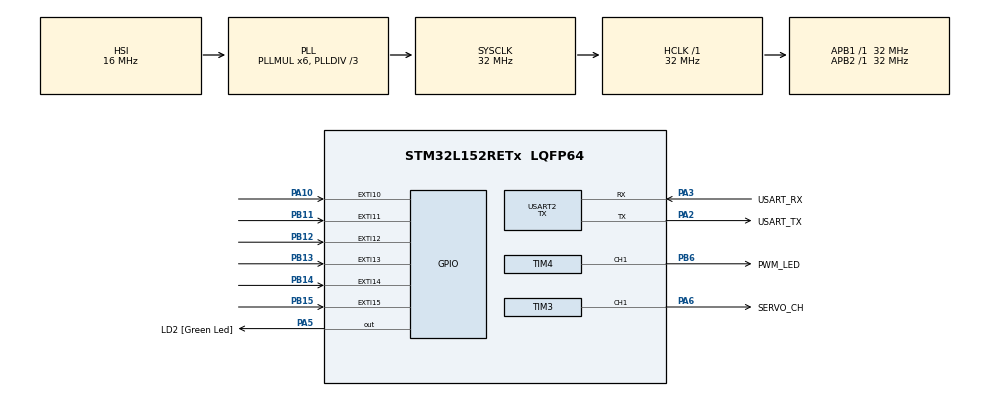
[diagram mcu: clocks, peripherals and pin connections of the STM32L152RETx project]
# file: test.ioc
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Mcu.Family=STM32L1
Mcu.Name=STM32L152RETx
Mcu.Package=LQFP64
NVIC.EXTI15_10_IRQn=true\:0\:0\:false\:false\:true\:true\:true\:true
NVIC.PriorityGroup=NVIC_PRIORITYGROUP_0
PA10.GPIO_ModeDefaultEXTI=GPIO_MODE_IT_RISING_FALLING
PA10.Signal=GPXTI10
PA13.GPIO_Label=TMS
PA13.Mode=Serial_Wire
PA13.Signal=SYS_JTMS-SWDIO
PA14.GPIO_Label=TCK
PA14.Mode=Serial_Wire
PA14.Signal=SYS_JTCK-SWCLK
PA2.GPIO_Label=USART_TX
PA2.Mode=Asynchronous
PA2.Signal=USART2_TX
PA3.GPIO_Label=USART_RX
PA3.Mode=Asynchronous
PA3.Signal=USART2_RX
PA5.GPIO_Label=LD2 [Green Led]
PA5.Signal=GPIO_Output
PA6.GPIO_Label=SERVO_CH
PA6.Signal=S_TIM3_CH1
PB11.GPIO_ModeDefaultEXTI=GPIO_MODE_IT_RISING_FALLING
PB11.Signal=GPXTI11
PB12.GPIO_ModeDefaultEXTI=GPIO_MODE_IT_RISING_FALLING
PB12.Signal=GPXTI12
PB13.GPIO_ModeDefaultEXTI=GPIO_MODE_IT_RISING_FALLING
PB13.Signal=GPXTI13
PB14.GPIO_ModeDefaultEXTI=GPIO_MODE_IT_RISING_FALLING
PB14.Signal=GPXTI14
PB15.GPIO_ModeDefaultEXTI=GPIO_MODE_IT_RISING_FALLING
PB15.Signal=GPXTI15
PB3.GPIO_Label=SWO
PB3.Signal=SYS_JTDO-TRACESWO
PB6.GPIO_Label=PWM_LED
PB6.Signal=S_TIM4_CH1
PC14-OSC32_IN.Mode=LSE-External-Oscillator
PC14-OSC32_IN.Signal=RCC_OSC32_IN
PC15-OSC32_OUT.Mode=LSE-External-Oscillator
PC15-OSC32_OUT.Signal=RCC_OSC32_OUT
PH0-OSC_IN.Mode=HSE-External-Clock-Source
PH0-OSC_IN.Signal=RCC_OSC_IN
PH1-OSC_OUT.Signal=RCC_OSC_OUT
ProjectManager.HeapSize=0x200
ProjectManager.StackSize=0x400
ProjectManager.TargetToolchain=STM32CubeIDE
RCC.48MHZClocksFreq_Value=48000000
RCC.AHBFreq_Value=32000000
RCC.APB1Freq_Value=32000000
RCC.APB1TimFreq_Value=32000000
RCC.APB2Freq_Value=32000000
RCC.APB2TimFreq_Value=32000000
RCC.HCLKFreq_Value=32000000
RCC.HSE_VALUE=8000000
RCC.HSI_VALUE=16000000
RCC.MSI_VALUE=2097000
RCC.PLLDIV=RCC_PLL_DIV3
RCC.PLLMUL=RCC_PLL_MUL6
RCC.RTCClockSelectionVirtual=RCC_RTCCLKSOURCE_LSE
RCC.SYSCLKFreq_VALUE=32000000
RCC.SYSCLKSource=RCC_SYSCLKSOURCE_PLLCLK
RCC.USBOutput=48000000
RCC.VCOOutputFreq_Value=96000000
SH.S_TIM3_CH1.0=TIM3_CH1,PWM Generation1 CH1
SH.S_TIM4_CH1.0=TIM4_CH1,PWM Generation1 CH1
TIM3.AutoReloadPreload=TIM_AUTORELOAD_PRELOAD_ENABLE
TIM3.Channel-PWM\ Generation1\ CH1=TIM_CHANNEL_1
TIM3.Period=19999
TIM3.Prescaler=31
TIM4.AutoReloadPreload=TIM_AUTORELOAD_PRELOAD_ENABLE
TIM4.Channel-PWM\ Generation1\ CH1=TIM_CHANNEL_1
TIM4.Period=199
TIM4.Prescaler=310
USART2.Mode=MODE_TX
USART2.VirtualMode=VM_ASYNC
VP_TIM3_VS_ClockSourceINT.Mode=Internal
VP_TIM4_VS_ClockSourceINT.Mode=Internal
board=NUCLEO-L152RE

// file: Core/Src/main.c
/* USER CODE BEGIN Header */
/**
  ******************************************************************************
  * @file           : main.c
  * @brief          : Main program body
  ******************************************************************************
  * @attention
  *
  * Copyright (c) 2024 STMicroelectronics.
  * All rights reserved.
  *
  * This software is licensed under terms that can be found in the LICENSE file
  * in the root directory of this software component.
  * If no LICENSE file comes with this software, it is provided AS-IS.
  *
  ******************************************************************************
  */
/* USER CODE END Header */
#include "main.h"
#include "tim.h"
#include "usart.h"
#include "gpio.h"

/* USER CODE BEGIN Includes */
#include <stdio.h>
#include <stdint.h>
#include "rx/rx.h"
#include "servo/servo.h"
/* USER CODE END Includes */

/* USER CODE BEGIN PTD */
struct rxData
{
	uint8_t direction;
	uint16_t pwmVal;
};
/* USER CODE END PTD */

/* USER CODE BEGIN PD */
extern UART_HandleTypeDef huart2;

/* USER CODE END PD */

/* USER CODE BEGIN PM */
uint16_t GetInputRxChannel1(void);
/* USER CODE END PM */

/* USER CODE BEGIN PV */
uint32_t value;
/* USER CODE END PV */

void SystemClock_Config(void);

/* USER CODE BEGIN 0 */
void send_msg(char* msg)
{
	while (*msg)
	{
		HAL_UART_Transmit(&huart2, (uint8_t*)msg, 1, 200);
		msg ++;
	}
	uint8_t data[] = {'\n', '\r'};
	HAL_UART_Transmit(&huart2, data, 2, 200);
}

void send_number(uint32_t val)
{
	char buffer[12];
	sprintf(buffer, "%lu", val);
	send_msg(buffer);
}

void send_short_number(uint16_t val)
{
	char buffer[10];
	sprintf(buffer, "%d", val);
	send_msg(buffer);
}
/* USER CODE END 0 */

int main(void)
{

  /* MCU Configuration--------------------------------------------------------*/

  /* Reset of all peripherals, Initializes the Flash interface and the Systick. */
  HAL_Init();

  /* Configure the system clock */
  SystemClock_Config();

  /* Initialize all configured peripherals */
  MX_GPIO_Init();
  MX_USART2_UART_Init();
  MX_TIM3_Init();
  MX_TIM4_Init();
  /* USER CODE BEGIN 2 */
  //DWT_Init();

  SERVO_attach(0, DEFAULT_PULSE_WIDTH);

  if (HAL_TIM_PWM_Start(&htim3, TIM_CHANNEL_1) != HAL_OK)
  {
	  Error_Handler();
  }
  /* USER CODE END 2 */

  /* Infinite loop */
  while (1)
  {

    /* USER CODE BEGIN 3 */
//	for (uint8_t pos=0; pos < 180; pos += 1)
//	{
//		SERVO_write(pos);
//		delay(15);
//	}
//
//	for (uint8_t pos=180; pos>=1; pos -= 1)
//	{
//		SERVO_write(pos);
//		delay(15);
//	}
	analogWrite(50);
	delay(2000);
	analogWrite(100);
	delay(2000);
//	value = GetInputRxChannel1();
//	send_short_number(value);
//    delay(100);
  }
  /* USER CODE END 3 */
}

void SystemClock_Config(void)
{
  RCC_OscInitTypeDef RCC_OscInitStruct = {0};
  RCC_ClkInitTypeDef RCC_ClkInitStruct = {0};

  /** Configure the main internal regulator output voltage
  */
  __HAL_PWR_VOLTAGESCALING_CONFIG(PWR_REGULATOR_VOLTAGE_SCALE1);

  /** Initializes the RCC Oscillators according to the specified parameters
  * in the RCC_OscInitTypeDef structure.
  */
  RCC_OscInitStruct.OscillatorType = RCC_OSCILLATORTYPE_HSI;
  RCC_OscInitStruct.HSIState = RCC_HSI_ON;
  RCC_OscInitStruct.HSICalibrationValue = RCC_HSICALIBRATION_DEFAULT;
  RCC_OscInitStruct.PLL.PLLState = RCC_PLL_ON;
  RCC_OscInitStruct.PLL.PLLSource = RCC_PLLSOURCE_HSI;
  RCC_OscInitStruct.PLL.PLLMUL = RCC_PLL_MUL6;
  RCC_OscInitStruct.PLL.PLLDIV = RCC_PLL_DIV3;
  if (HAL_RCC_OscConfig(&RCC_OscInitStruct) != HAL_OK)
  {
    Error_Handler();
  }

  /** Initializes the CPU, AHB and APB buses clocks
  */
  RCC_ClkInitStruct.ClockType = RCC_CLOCKTYPE_HCLK|RCC_CLOCKTYPE_SYSCLK
                              |RCC_CLOCKTYPE_PCLK1|RCC_CLOCKTYPE_PCLK2;
  RCC_ClkInitStruct.SYSCLKSource = RCC_SYSCLKSOURCE_PLLCLK;
  RCC_ClkInitStruct.AHBCLKDivider = RCC_SYSCLK_DIV1;
  RCC_ClkInitStruct.APB1CLKDivider = RCC_HCLK_DIV1;
  RCC_ClkInitStruct.APB2CLKDivider = RCC_HCLK_DIV1;

  if (HAL_RCC_ClockConfig(&RCC_ClkInitStruct, FLASH_LATENCY_1) != HAL_OK)
  {
    Error_Handler();
  }
}

/* USER CODE BEGIN 4 */
uint16_t GetInputRxChannel1(void)
{
	struct rxData sRxData, sRxDataSendQueue;
	static uint16_t lastPwmValue = 0;
	static uint8_t lastStateValue = 0;
	static uint16_t zeroValCount = 0;

	RX_ReadPulse(RX_CHANNEL_1, &sRxData.direction, &sRxData.pwmVal);
	if (sRxData.pwmVal != RECEIVER_PWM_LOSS_OR_FAIL)
	{
		lastPwmValue = sRxData.pwmVal;
		lastStateValue = sRxData.direction;
		zeroValCount = 0;
	}
	else
	{
		zeroValCount ++;
	}
	if (zeroValCount >= RECEIVER_PWM_FAIL_COUNT)
	{
		lastPwmValue = RECEIVER_PWM_LOSS_OR_FAIL;
		lastStateValue = RECEIVER_STICK_LOSS_OR_FAIL;
	}

	sRxDataSendQueue.pwmVal = lastPwmValue;
	sRxDataSendQueue.direction = lastStateValue;

	return sRxDataSendQueue.pwmVal;
	//HAL_Delay(100);
}

void HAL_GPIO_EXTI_Callback(uint16_t GPIO_Pin)
{
	if (GPIO_Pin == GPIO_PIN_10)
	{
		if (HAL_GPIO_ReadPin(GPIOA, GPIO_PIN_10) == GPIO_PIN_SET)
		{
			RX_ReadRaw(RX_STATE_ACTIVE, RX_INPUT_MAP_CHANNEL_1_TO_NUMBER);
		}
		else
		{
			RX_ReadRaw(RX_STATE_INACTIVE, RX_INPUT_MAP_CHANNEL_1_TO_NUMBER);
		}
	}
}
/* USER CODE END 4 */

void Error_Handler(void)
{
  __disable_irq();
  while (1)
  {
  }
}
